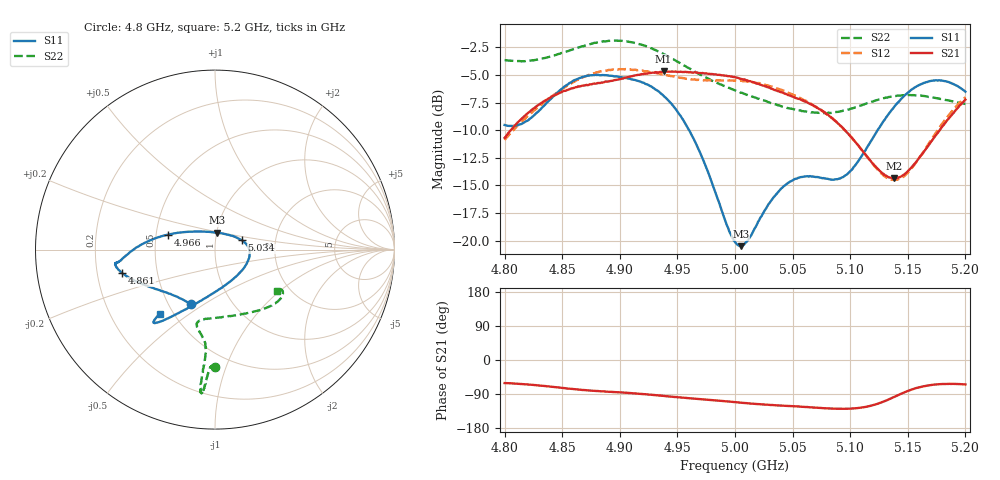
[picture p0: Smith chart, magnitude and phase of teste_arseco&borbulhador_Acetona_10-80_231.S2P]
! Network Analyzer HP8722D
! Hewlett-Packard
! Data name: Linha & Wilkinson
! Saver's name: Rodrigo Anjos
! Comments: Teste da utilização de aquisição
! continua pelo VNA HP8722D
! Time and date: 17/4/2025 16:17
!  Frequency  S11  S21  S12  S22
# HZ  S  MA R 50
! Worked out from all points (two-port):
!   401 points, 4.8 GHz to 5.2 GHz, reference 50 ohm
!   highest |S21| = -4.69 dB at 4.938 GHz (marker M1); lowest = -14.4 dB at 5.138 GHz (marker M2)
!   |S21| within 3 dB of the highest: 4.83 GHz to 5.066 GHz (236.5 MHz wide, 4.78 % of centre); 5.195995 GHz to end of sweep
!   lowest |S11| = -20.5 dB at 5.005 GHz (marker M3), VSWR 1.21, Z = 50.5 + j9.53 ohm
!   |S11| at or under -10 dB: 4.96 GHz to 5.124 GHz (163.6 MHz wide, 3.25 % of centre)
!   |S22| runs from -8.5 to -1.9 dB; largest |S21 - S12| = 0.87
!   S11 on the Smith chart (normalised r, x): 4.8 GHz: 0.64, -0.44; 4.861 GHz: 0.31, -0.11; 4.966 GHz: 0.58, +0.10; 5.034 GHz: 1.34, +0.14; 5.2 GHz: 0.42, -0.39
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4.8e9  0.3339 -113.7  0.292 -60.9  0.2854 -175.0  0.6564 -90.2
4.819e9  0.3479 -133.8  0.3735 -64.3  0.3626 -173.8  0.6514 -91.7
4.861e9  0.5331 -165.7  0.4934 -77.2  0.526 -177.1  0.7377 -94.1
4.867e9  0.549 -168.1  0.5018 -79.0  0.5449 -178.1  0.757 -94.2
4.902e9  0.5476 -172.7  0.5412 -85.7  0.5967 174.8  0.8013 -95.7
4.934e9  0.4723 -178.5  0.5783 -93.8  0.5705 171.6  0.7152 -95.9
4.938e9  0.4523 179.8  0.583 -94.8  0.5644 171.6  0.6985 -95.8
4.953e9  0.3652 171.8  0.5813 -98.8  0.5454 172.3  0.6323 -95.3
4.966e9  0.2758 162.5  0.5775 -102.2  0.5346 173.6  0.5783 -95.1
5e9  0.09881 99.6  0.5493 -111.3  0.5302 176.1  0.4792 -99.2
5.005e9  0.09454 81.7  0.5395 -112.7  0.5294 176.0  0.4665 -100.4
5.012e9  0.1021 58.7  0.527 -114.5  0.5241 175.8  0.4545 -101.8
5.034e9  0.1583 19.2  0.4808 -119.2  0.4946 174.7  0.4151 -103.4
5.05e9  0.1875 3.1  0.4488 -122.1  0.4594 173.9  0.3943 -99.2
5.067e9  0.1953 -15.2  0.4115 -125.0  0.4133 173.4  0.3812 -90.4
5.086e9  0.1889 -45.4  0.3519 -128.3  0.3515 173.6  0.3804 -76.0
5.097e9  0.1991 -67.7  0.3096 -128.7  0.3096 174.7  0.3904 -67.0
5.134e9  0.3777 -117.0  0.1933 -103.3  0.1899 -156.1  0.447 -43.0
5.138e9  0.4021 -119.4  0.1913 -97.7  0.1885 -149.8  0.4501 -41.2
5.15e9  0.4669 -124.7  0.2063 -81.9  0.2031 -131.4  0.4559 -36.8
5.17e9  0.5279 -129.2  0.2795 -66.1  0.2841 -112.3  0.4465 -32.1
5.2e9  0.4719 -130.9  0.4344 -64.6  0.446 -106.7  0.4153 -33.5
